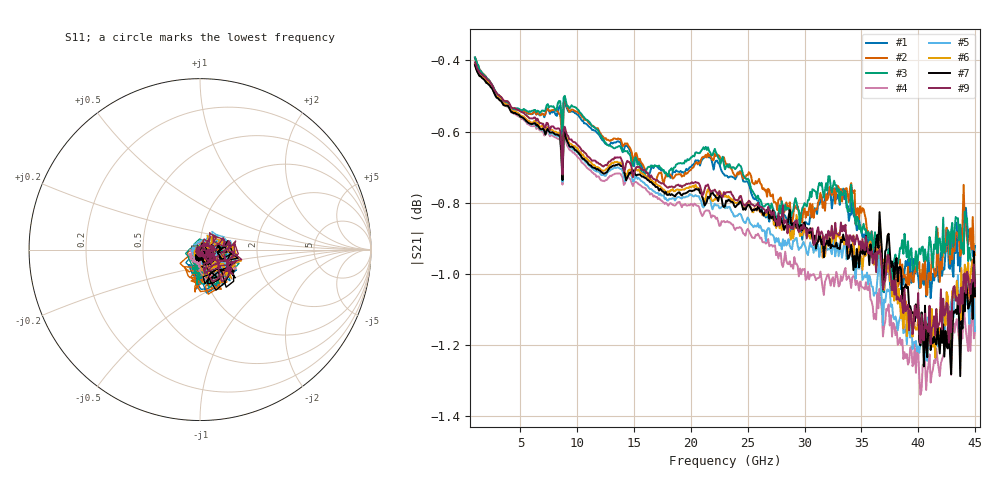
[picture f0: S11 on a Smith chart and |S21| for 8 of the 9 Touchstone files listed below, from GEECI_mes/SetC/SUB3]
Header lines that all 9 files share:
!Keysight Technologies,N5247B,MY61255062,A.19.80.06
!Correction: S11(Cdelta 2-Port  )
!S21(Cdelta 2-Port  )
!S12(Cdelta 2-Port  )
!S22(Cdelta 2-Port  )
!S2P File: Measurements: S11, S21, S12, S22:
# Hz S  dB  R 50
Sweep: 1 GHz to 45 GHz
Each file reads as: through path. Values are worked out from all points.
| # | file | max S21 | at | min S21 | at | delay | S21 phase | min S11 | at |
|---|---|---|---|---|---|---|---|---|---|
| 1 | thru_ref_nos1.s2p | -0.39 dB | 1 GHz | -1.1 dB | 41.1 GHz | 49.4 ps | -50 deg at 23 GHz | -41.8 dB | 23 GHz |
| 2 | thru_ref_nos2.s2p | -0.39 dB | 1 GHz | -1.1 dB | 40.8 GHz | 49.2 ps | -48 deg at 23 GHz | -47.0 dB | 43.5 GHz |
| 3 | thru_ref_nos3.s2p | -0.39 dB | 1 GHz | -1.1 dB | 45 GHz | 49.5 ps | -50 deg at 23 GHz | -51.3 dB | 32.8 GHz |
| 4 | TN1_60.5um.s2p | -0.41 dB | 1 GHz | -1.3 dB | 40.2 GHz | 56.5 ps | -108 deg at 23 GHz | -38.8 dB | 17.4 GHz |
| 5 | TN2_100.5um.s2p | -0.41 dB | 1 GHz | -1.2 dB | 40.8 GHz | 56.2 ps | -106 deg at 23 GHz | -57.8 dB | 17.1 GHz |
| 6 | TN3_196.5um.s2p | -0.41 dB | 1 GHz | -1.2 dB | 42.9 GHz | 56 ps | -104 deg at 23 GHz | -45.0 dB | 35.4 GHz |
| 7 | TN4_60.5um.s2p | -0.41 dB | 1 GHz | -1.3 dB | 43.7 GHz | 55.7 ps | -101 deg at 23 GHz | -40.2 dB | 28 GHz |
| 8 | TN5_100.5um.s2p | -0.40 dB | 1 GHz | -1.3 dB | 42.8 GHz | 55.8 ps | -103 deg at 23 GHz | -52.1 dB | 23.3 GHz |
| 9 | TN6_196.5um.s2p | -0.41 dB | 1 GHz | -1.2 dB | 41.1 GHz | 55.9 ps | -103 deg at 23 GHz | -45.4 dB | 25.3 GHz |
